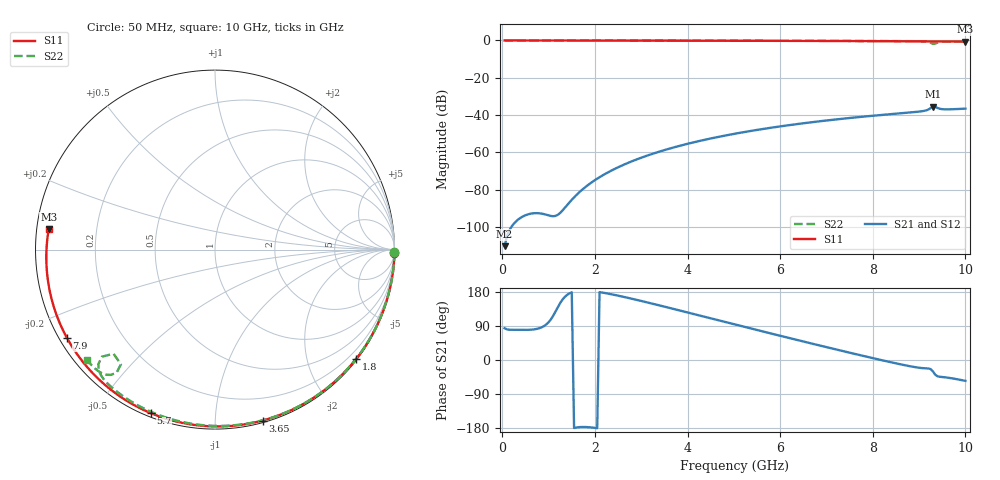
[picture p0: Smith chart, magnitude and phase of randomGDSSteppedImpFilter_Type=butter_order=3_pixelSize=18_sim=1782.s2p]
! freq	dB(S11)	phase(S11)	dB(S12)	phase(S12)
!  dB(S21)	phase(S21)	dB(S22)	phase(S22)
!S-par simulation data
#  GHz  S  DB  R 50
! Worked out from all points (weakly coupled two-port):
!   200 points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, 50 MHz to 10 GHz, reference 50 ohm
!   highest |S21| = -35.45 dB at 9.3 GHz (marker M1); lowest = -110.2 dB at 50 MHz (marker M2)
!   lowest |S11| = -0.6 dB at 10 GHz (marker M3), VSWR 28.98, Z = 1.73 + j3.1 ohm
!   |S11| at or under -10 dB: nowhere
!   |S22| runs from -1.8 to 0.0 dB; largest |S21 - S12| = 0
!   S11 on the Smith chart (normalised r, x): 50 MHz: open; 1.8 GHz: 0.03, -2.91; 3.65 GHz: 0.02, -1.32; 5.7 GHz: 0.02, -0.68; 7.9 GHz: 0.02, -0.28; 10 GHz: 0.03, +0.06
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0.05  -0.00 -1.1  -110.21 83.9  -110.21 83.9  -0.00 -0.8
0.85  -0.02 -18.2  -92.77 86.2  -92.77 86.2  -0.02 -13.8
1.7  -0.05 -35.9  -80.49 -176.9  -80.49 -176.9  -0.03 -27.3
1.75  -0.05 -36.9  -79.43 -176.8  -79.43 -176.8  -0.04 -28.1
1.8  -0.05 -37.9  -78.43 -176.9  -78.43 -176.9  -0.04 -28.9
2.1  -0.06 -44.1  -73.26 179.1  -73.26 179.1  -0.04 -33.6
2.5  -0.07 -52.1  -67.95 169.8  -67.95 169.8  -0.05 -39.8
3.4  -0.09 -69.7  -59.49 143.9  -59.49 143.9  -0.07 -53.5
3.65  -0.10 -74.4  -57.67 136.3  -57.67 136.3  -0.08 -57.2
4.35  -0.12 -87.4  -53.33 114.7  -53.33 114.7  -0.10 -67.4
5.05  -0.15 -100.1  -49.84 93.0  -49.84 93.0  -0.12 -77.3
5.7  -0.19 -111.5  -47.15 73.0  -47.15 73.0  -0.14 -86.2
6.7  -0.25 -128.7  -43.75 42.8  -43.75 42.8  -0.19 -99.5
7.9  -0.35 -149.2  -40.57 7.8  -40.57 7.8  -0.27 -115.1
8.35  -0.40 -157.0  -39.56 -4.8  -39.56 -4.8  -0.31 -120.9
8.9  -0.46 -166.7  -38.39 -18.6  -38.39 -18.6  -0.39 -128.7
9.15  -0.49 -171.2  -37.48 -22.0  -37.48 -22.0  -0.61 -134.0
9.25  -0.50 -173.0  -36.25 -24.0  -36.25 -24.0  -1.23 -136.6
9.3  -0.51 -173.9  -35.45 -30.3  -35.45 -30.3  -1.83 -134.3
9.35  -0.51 -174.8  -35.58 -38.9  -35.58 -38.9  -1.66 -129.4
9.45  -0.52 -176.7  -36.61 -44.3  -36.61 -44.3  -0.84 -129.8
10  -0.60 172.9  -36.51 -55.0  -36.51 -55.0  -0.52 -139.4
